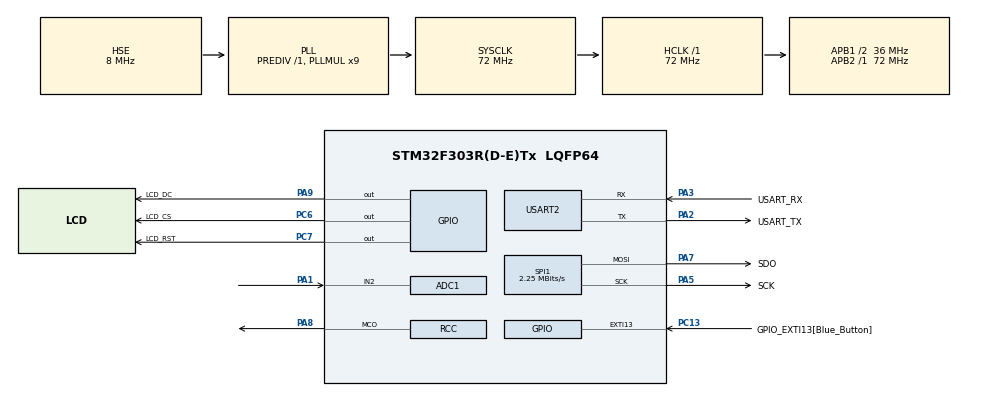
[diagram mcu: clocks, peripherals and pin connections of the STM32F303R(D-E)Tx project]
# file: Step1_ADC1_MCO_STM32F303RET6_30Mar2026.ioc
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ADC1.Channel-1\#ChannelRegularConversion=ADC_CHANNEL_2
ADC1.ContinuousConvMode=ENABLE
ADC1.DMAContinuousRequests=ENABLE
ADC1.EnableInjectedConversion=ENABLE
ADC1.ExternalTrigConvEdge=ADC_EXTERNALTRIGCONVEDGE_NONE
ADC1.NbrOfConversion=1
ADC1.NbrOfConversionFlag=1
ADC1.Offset-1\#ChannelRegularConversion=0
ADC1.OffsetNumber-1\#ChannelRegularConversion=ADC_OFFSET_NONE
ADC1.Rank-1\#ChannelRegularConversion=1
ADC1.Resolution=ADC_RESOLUTION_8B
ADC1.SamplingTime-1\#ChannelRegularConversion=ADC_SAMPLETIME_2CYCLES_5
ADC1.master=1
Dma.ADC1.0.Direction=DMA_PERIPH_TO_MEMORY
Dma.ADC1.0.Instance=DMA1_Channel1
Dma.ADC1.0.MemDataAlignment=DMA_MDATAALIGN_HALFWORD
Dma.ADC1.0.MemInc=DMA_MINC_ENABLE
Dma.ADC1.0.Mode=DMA_NORMAL
Dma.ADC1.0.PeriphDataAlignment=DMA_PDATAALIGN_HALFWORD
Dma.ADC1.0.PeriphInc=DMA_PINC_DISABLE
Dma.ADC1.0.Priority=DMA_PRIORITY_VERY_HIGH
Dma.Request0=ADC1
Dma.Request1=SPI1_TX
Dma.SPI1_TX.1.Direction=DMA_MEMORY_TO_PERIPH
Dma.SPI1_TX.1.Instance=DMA1_Channel3
Dma.SPI1_TX.1.MemDataAlignment=DMA_MDATAALIGN_BYTE
Dma.SPI1_TX.1.MemInc=DMA_MINC_ENABLE
Dma.SPI1_TX.1.Mode=DMA_NORMAL
Dma.SPI1_TX.1.PeriphDataAlignment=DMA_PDATAALIGN_BYTE
Dma.SPI1_TX.1.PeriphInc=DMA_PINC_DISABLE
Dma.SPI1_TX.1.Priority=DMA_PRIORITY_LOW
Mcu.Family=STM32F3
Mcu.Name=STM32F303R(D-E)Tx
Mcu.Package=LQFP64
NVIC.DMA1_Channel1_IRQn=true\:0\:0\:false\:false\:true\:false\:true\:true
NVIC.DMA1_Channel3_IRQn=true\:0\:0\:false\:false\:true\:false\:true\:true
NVIC.PriorityGroup=NVIC_PRIORITYGROUP_0
PA1.Mode=IN2-Single-Ended
PA1.Signal=ADC1_IN2
PA13.GPIO_Label=TMS
PA13.Mode=Serial_Wire
PA13.Signal=SYS_JTMS-SWDIO
PA14.GPIO_Label=TCK
PA14.Mode=Serial_Wire
PA14.Signal=SYS_JTCK-SWCLK
PA2.GPIO_Label=USART_TX
PA2.GPIO_Mode=GPIO_MODE_AF_PP
PA2.GPIO_PuPd=GPIO_NOPULL
PA2.GPIO_Speed=GPIO_SPEED_FREQ_LOW
PA2.Mode=Asynchronous
PA2.Signal=USART2_TX
PA3.GPIO_Label=USART_RX
PA3.GPIO_Mode=GPIO_MODE_AF_PP
PA3.GPIO_PuPd=GPIO_NOPULL
PA3.GPIO_Speed=GPIO_SPEED_FREQ_LOW
PA3.Mode=Asynchronous
PA3.Signal=USART2_RX
PA5.GPIO_Label=SCK
PA5.Mode=TX_Only_Simplex_Unidirect_Master
PA5.Signal=SPI1_SCK
PA7.GPIO_Label=SDO
PA7.Mode=TX_Only_Simplex_Unidirect_Master
PA7.Signal=SPI1_MOSI
PA8.Mode=Clock-out
PA8.Signal=RCC_MCO
PA9.GPIO_Label=LCD_DC
PA9.GPIO_Speed=GPIO_SPEED_FREQ_HIGH
PA9.PinState=GPIO_PIN_SET
PA9.Signal=GPIO_Output
PB3.GPIO_Label=SWO
PB3.Signal=SYS_JTDO-TRACESWO
PC13.GPIO_Label=GPIO_EXTI13[Blue_Button]
PC13.GPIO_ModeDefaultEXTI=GPIO_MODE_IT_FALLING
PC13.GPIO_PuPd=GPIO_PULLUP
PC13.Signal=GPXTI13
PC14-OSC32_IN.Mode=LSE-External-Oscillator
PC14-OSC32_IN.Signal=RCC_OSC32_IN
PC15-OSC32_OUT.Mode=LSE-External-Oscillator
PC15-OSC32_OUT.Signal=RCC_OSC32_OUT
PC6.GPIO_Label=LCD_CS
PC6.GPIO_PuPd=GPIO_PULLUP
PC6.GPIO_Speed=GPIO_SPEED_FREQ_HIGH
PC6.PinState=GPIO_PIN_SET
PC6.Signal=GPIO_Output
PC7.GPIO_Label=LCD_RST
PC7.GPIO_ModeDefaultOutputPP=GPIO_MODE_OUTPUT_PP
PC7.GPIO_PuPd=GPIO_PULLUP
PC7.GPIO_Speed=GPIO_SPEED_FREQ_HIGH
PC7.PinState=GPIO_PIN_SET
PC7.Signal=GPIO_Output
PF0-OSC_IN.Mode=HSE-External-Clock-Source
PF0-OSC_IN.Signal=RCC_OSC_IN
PF1-OSC_OUT.Signal=RCC_OSC_OUT
ProjectManager.HeapSize=0x200
ProjectManager.StackSize=0x400
ProjectManager.TargetToolchain=STM32CubeIDE
RCC.AHBFreq_Value=72000000
RCC.APB1CLKDivider=RCC_HCLK_DIV2
RCC.APB1Freq_Value=36000000
RCC.APB1TimFreq_Value=72000000
RCC.APB2Freq_Value=72000000
RCC.APB2TimFreq_Value=72000000
RCC.CortexFreq_Value=72000000
RCC.HCLKFreq_Value=72000000
RCC.HSE_VALUE=8000000
RCC.HSI_VALUE=8000000
RCC.PLLM=8
RCC.PLLMUL=RCC_PLL_MUL9
RCC.PLLN=336
RCC.PLLP=RCC_PLLP_DIV4
RCC.PLLQ=7
RCC.PLLSourceVirtual=RCC_PLLSOURCE_HSE
RCC.RCC_MCODiv=RCC_MCODIV_8
RCC.RCC_MCOMult_Clock_Source_FROM_PLLMUL=RCC_MCO1SOURCE_PLLCLK_DIV2
RCC.RCC_MCOSource=RCC_MCO1SOURCE_PLLCLK_DIV2
RCC.RCC_PLLsource_Clock_Source_FROM_HSE=RCC_HSE_PREDIV_DIV2
RCC.SYSCLKFreq_VALUE=72000000
RCC.SYSCLKSourceVirtual=RCC_SYSCLKSOURCE_PLLCLK
RCC.USBFreq_Value=72000000
SPI1.BaudRatePrescaler=SPI_BAUDRATEPRESCALER_32
SPI1.CLKPolarity=SPI_POLARITY_LOW
SPI1.CalculateBaudRate=2.25 MBits/s
SPI1.DataSize=SPI_DATASIZE_8BIT
SPI1.Direction=SPI_DIRECTION_2LINES
SPI1.Mode=SPI_MODE_MASTER
SPI1.VirtualType=VM_MASTER
USART2.VirtualMode-Asynchronous=VM_ASYNC
board=NUCLEO-F303RE

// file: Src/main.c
/* USER CODE BEGIN Header */
/**
  ******************************************************************************
  * @file           : main.c
  * @brief          : Main program body
  ******************************************************************************
  * @attention
  *
  * Copyright (c) 2026 STMicroelectronics.
  * All rights reserved.
  *
  * This software is licensed under terms that can be found in the LICENSE file
  * in the root directory of this software component.
  * If no LICENSE file comes with this software, it is provided AS-IS.
  *
  ******************************************************************************
  */
/* USER CODE END Header */
#include "main.h"
#include "adc.h"
#include "dma.h"
#include "spi.h"
#include "usart.h"
#include "gpio.h"

/* USER CODE BEGIN Includes */
#include "lcd.h"
/* USER CODE END Includes */

/* USER CODE BEGIN PV */
uint16_t adc_buffer[36];          // Buffer for 320 ADC readings [20, 37]
volatile uint8_t capture_ready = 0; // Flag set by EXTI [3]
volatile uint8_t display_update = 0; // Flag set by DMA Complete [38]
/* USER CODE END PV */

void SystemClock_Config(void);

int main(void)
{

  /* USER CODE BEGIN 1 */
	//CoreDebug->DEMCR |= CoreDebug_DEMCR_TRCENA_Msk; // Enable DWT (Data Watchpoint and Trace) unit's 32-bit CYCCNT (cycle counter)
	//DWT->CYCCNT = 0;                                // Clear count reset to 0
	//DWT->CTRL = DWT_CTRL_CYCCNTENA_Msk;             // Enable cycle counter (CycCntEna) = to increment every CPU clock cycle
  /* USER CODE END 1 */

  /* MCU Configuration--------------------------------------------------------*/

  /* Reset of all peripherals, Initializes the Flash interface and the Systick. */
  HAL_Init();

  /* Configure the system clock */
  SystemClock_Config();

  /* Initialize all configured peripherals */
  MX_GPIO_Init();
  MX_DMA_Init();
  MX_ADC1_Init();
  MX_USART2_UART_Init();
  MX_SPI1_Init();
  /* USER CODE BEGIN 2 */
  //HAL_Delay(150);
  LCD_init();                                         // Initialize TFT [35, 41]
  //HAL_Delay(150);

  //ST7789_InvertColors(1);
  //ST7789_SetRotation(1);                                // 320px Landscape mode [42, 43]
  //ST7789_Fill_Color(BROWN);
  LCD_Test();

  //todo HAL_ADCEx_Calibration_Start(&hadc1, ADC_SINGLE_ENDED); // Calibrate for accuracy [39, 40]
  /* USER CODE END 2 */

  /* Infinite loop */
  /* USER CODE BEGIN WHILE */
  while (1)
  {
	  if (capture_ready) {
	          capture_ready = 0;
	          // Start ADC with DMA for exactly 320 samples [44, 45]
	          HAL_ADC_Start_DMA(&hadc1, (uint32_t*)adc_buffer, 320);
	      }

	      if (display_update) {
	          display_update = 0;
	          LCD_Fill(0,0,240,320,C_BLACK); // Clear previous frame [42, 46]

	          // Loop to draw 320 readings as a graph [47, 48]
	          for (int x = 0; x < 320; x++) {
	              // Scale 12-bit ADC (0-4095) to screen height (240-0) [49, 50]
	              uint16_t y = 240 - (adc_buffer[x] * 240 / 4096);
	              LCD_DrawPixel(x, y, C_GREEN);
	          }
	      }
    /* USER CODE END WHILE */

  }
}

void SystemClock_Config(void)
{
  RCC_OscInitTypeDef RCC_OscInitStruct = {0};
  RCC_ClkInitTypeDef RCC_ClkInitStruct = {0};
  RCC_PeriphCLKInitTypeDef PeriphClkInit = {0};

  /** Initializes the RCC Oscillators according to the specified parameters
  * in the RCC_OscInitTypeDef structure.
  */
  RCC_OscInitStruct.OscillatorType = RCC_OSCILLATORTYPE_HSE;
  RCC_OscInitStruct.HSEState = RCC_HSE_BYPASS;
  RCC_OscInitStruct.HSIState = RCC_HSI_ON;
  RCC_OscInitStruct.PLL.PLLState = RCC_PLL_ON;
  RCC_OscInitStruct.PLL.PLLSource = RCC_PLLSOURCE_HSE;
  RCC_OscInitStruct.PLL.PLLMUL = RCC_PLL_MUL9;
  RCC_OscInitStruct.PLL.PREDIV = RCC_PREDIV_DIV1;
  if (HAL_RCC_OscConfig(&RCC_OscInitStruct) != HAL_OK)
  {
    Error_Handler();
  }

  /** Initializes the CPU, AHB and APB buses clocks
  */
  RCC_ClkInitStruct.ClockType = RCC_CLOCKTYPE_HCLK|RCC_CLOCKTYPE_SYSCLK
                              |RCC_CLOCKTYPE_PCLK1|RCC_CLOCKTYPE_PCLK2;
  RCC_ClkInitStruct.SYSCLKSource = RCC_SYSCLKSOURCE_PLLCLK;
  RCC_ClkInitStruct.AHBCLKDivider = RCC_SYSCLK_DIV1;
  RCC_ClkInitStruct.APB1CLKDivider = RCC_HCLK_DIV2;
  RCC_ClkInitStruct.APB2CLKDivider = RCC_HCLK_DIV1;

  if (HAL_RCC_ClockConfig(&RCC_ClkInitStruct, FLASH_LATENCY_2) != HAL_OK)
  {
    Error_Handler();
  }
  PeriphClkInit.PeriphClockSelection = RCC_PERIPHCLK_USART2|RCC_PERIPHCLK_ADC12;
  PeriphClkInit.Usart2ClockSelection = RCC_USART2CLKSOURCE_PCLK1;
  PeriphClkInit.Adc12ClockSelection = RCC_ADC12PLLCLK_DIV1;
  if (HAL_RCCEx_PeriphCLKConfig(&PeriphClkInit) != HAL_OK)
  {
    Error_Handler();
  }
  HAL_RCC_MCOConfig(RCC_MCO, RCC_MCO1SOURCE_PLLCLK_DIV2, RCC_MCODIV_8);
}

/* USER CODE BEGIN 4 */
// Blue Button trigger [3, 51]
void HAL_GPIO_EXTI_Callback(uint16_t GPIO_Pin) {
    if (GPIO_Pin == GPIO_PIN_13) {
        capture_ready = 1;
    }
}

// ADC Capture Complete trigger [38, 52]
void HAL_ADC_ConvCpltCallback(ADC_HandleTypeDef* hadc) {
    if (hadc->Instance == ADC1) {
        HAL_ADC_Stop_DMA(&hadc1); // Stop continuous mode after 320 samples [45, 53]
        display_update = 1;
    }
}
/* USER CODE END 4 */

void Error_Handler(void)
{
  __disable_irq();
  while (1)
  {
  }
}
